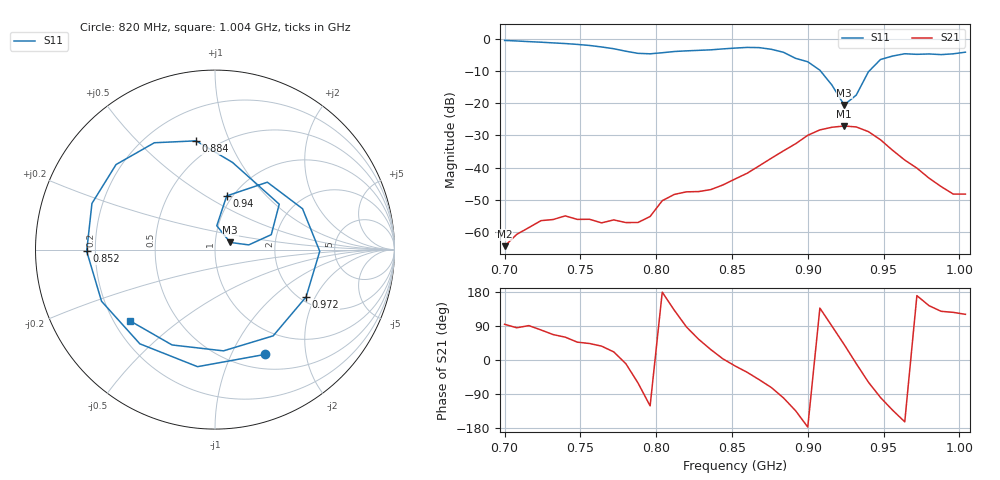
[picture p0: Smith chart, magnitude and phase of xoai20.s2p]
# Hz S RI R 50
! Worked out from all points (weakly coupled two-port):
!   39 points, 700 MHz to 1.004 GHz, reference 50 ohm
!   highest |S21| = -27.10 dB at 924 MHz (marker M1); lowest = -64.4 dB at 700 MHz (marker M2)
!   lowest |S11| = -20.6 dB at 924 MHz (marker M3), VSWR 1.21, Z = 59 + j4.77 ohm
!   |S11| at or under -10 dB: 908.4 MHz to 940.6 MHz (32.22 MHz wide, 3.49 % of centre)
!   S12 and S22 are empty: the file has one direction only
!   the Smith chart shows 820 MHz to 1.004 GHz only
!   S11 on the Smith chart (normalised r, x): 820 MHz: 0.68, -1.36; 852 MHz: 0.17, -0.01; 884 MHz: 0.39, +0.76; 940 MHz: 0.94, +0.62; 972 MHz: 2.16, -1.69; 1.004 GHz: 0.27, -0.34
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7e8  0.7594 0.5524  -4.49e-05 0.0006  0 0  0 0
7.24e8  0.8476 -0.2452  0.000278 0.00147  0 0  0 0
7.4e8  0.4624 -0.7025  0.000882 0.00154  0 0  0 0
7.56e8  -0.1909 -0.7616  0.00114 0.00108  0 0  0 0
7.72e8  -0.668 -0.2047  0.00143 0.000561  0 0  0 0
7.8e8  -0.5988 0.2229  0.00138 -0.000236  0 0  0 0
7.88e8  -0.2509 0.5366  0.000688 -0.00122  0 0  0 0
7.96e8  0.2407 0.5308  -0.000899 -0.00149  0 0  0 0
8.04e8  0.5768 0.1838  -0.00306 5.13e-05  0 0  0 0
8.2e8  0.2801 -0.5838  0.000212 0.00419  0 0  0 0
8.36e8  -0.4187 -0.525  0.00403 0.00211  0 0  0 0
8.52e8  -0.7149 -0.00922  0.00639 -0.00178  0 0  0 0
8.68e8  -0.5513 0.4738  0.00654 -0.00839  0 0  0 0
8.84e8  -0.1053 0.6059  -0.00319 -0.0179  0 0  0 0
9e8  0.358 0.2531  -0.0316 -0.00164  0 0  0 0
9.08e8  0.3135 0.0833  -0.0281 0.0262  0 0  0 0
9.24e8  0.0845 0.04  0.0333 0.0289  0 0  0 0
9.4e8  0.0649 0.2989  0.0189 -0.0308  0 0  0 0
9.56e8  0.4877 0.2276  -0.0125 -0.0136  0 0  0 0
9.72e8  0.5075 -0.2637  -0.00964 0.00172  0 0  0 0
9.88e8  0.0471 -0.5642  -0.00315 0.00397  0 0  0 0
1.004e9  -0.473 -0.3972  -0.00197 0.00334  0 0  0 0
